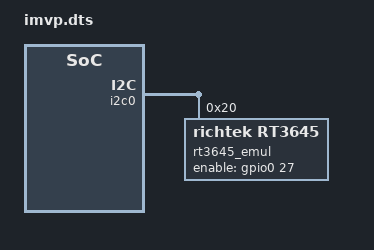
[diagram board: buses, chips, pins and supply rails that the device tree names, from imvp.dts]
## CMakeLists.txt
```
# Copyright 2025 The ChromiumOS Authors
# Use of this source code is governed by a BSD-style license that can be
# found in the LICENSE file.

# Add source files
target_sources(app PRIVATE src/imvp.c)
```

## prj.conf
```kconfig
# Copyright 2026 The ChromiumOS Authors
# Use of this source code is governed by a BSD-style license that can be
# found in the LICENSE file.

CONFIG_IMVP_RT3645_CONSOLE=y
```

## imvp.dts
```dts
/* Copyright 2025 The ChromiumOS Authors
 * Use of this source code is governed by a BSD-style license that can be
 * found in the LICENSE file.
 */

&i2c0 {
	rt3645_emul: richtek-imvp@20 {
		compatible = "richtek,rt3645";
		status = "okay";
		reg = <0x20>;
		enable-gpios = <&gpio0 27 GPIO_ACTIVE_HIGH>;
		update-data = <0x24 0x54 0x02>;
		update-crc = <0x12>;
	};
};
```

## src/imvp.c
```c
/* Copyright 2026 The ChromiumOS Authors
 * Use of this source code is governed by a BSD-style license that can be
 * found in the LICENSE file.
 */

#include "console.h"
#include "drivers/imvp/rt3645.h"
#include "emul/emul_rt3645.h"
#include "power.h"
#include "test/drivers/test_state.h"
#include "timer.h"

#include <stdlib.h>
#include <time.h>

#include <zephyr/fff.h>
#include <zephyr/random/random.h>
#include <zephyr/shell/shell.h>
#include <zephyr/shell/shell_dummy.h>
#include <zephyr/ztest.h>

#define RT3645_PORT 0
#define RT3645_NODE DT_NODELABEL(rt3645_emul)

extern int rt3645_get_flag(int port);

const struct emul *emul = EMUL_DT_GET(RT3645_NODE);
const struct device *dev = DEVICE_DT_GET(RT3645_NODE);

#define RT3645_PAGE_MAX 0x0D

/* Generate random non-zero page number */
#define RT3645_GEN_RAND_PAGE() ((rand() % RT3645_PAGE_MAX) + 1);

/* Generate random non-zero register value */
#define RT3645_GEN_RAND_REG_VAL() ((rand() % 0xFF) + 1);
/**
 * @brief Send correct sequence to RT3645 and set it in config mode
 *
 * @retval 0 if successful, otherwise if it fails
 */
int rt3645_imvp_set_in_config_mode(void)
{
	return shell_execute_cmd(get_ec_shell(),
				 "imvp cfg_mode 0x24 0x25 0x26 0x27");
}

ZTEST(rt3645_imvp, test_product_id)
{
	uint8_t reg_val;

	rt3645_emul_read_reg(emul, PRODUCT_ID_REG, &reg_val);
	zassert_equal(reg_val, 0x45);
}

ZTEST(rt3645_imvp, test_config_mode)
{
	zassert_false(rt3645_emul_in_config_mode(emul));

	/* Setting wrong pattern length */
	zassert_ok(shell_execute_cmd(get_ec_shell(),
				     "imvp cfg_mode 0x24 0x25 0x26"),
		   NULL);
	zassert_ok(rt3645_set_page(dev, 4));
	zassert_false(rt3645_emul_in_config_mode(emul));

	/* Setting wrong pattern */
	zassert_ok(shell_execute_cmd(get_ec_shell(),
				     "imvp cfg_mode 0x24 0x25 0x26 0x30"),
		   NULL);
	zassert_false(rt3645_emul_in_config_mode(emul));

	/* Set register to reset internal device counter */
	zassert_ok(rt3645_set_page(dev, 4));

	/* Setting correct pattern out of G3/S5 */
	power_set_state(POWER_S0);
	zassert_not_ok(rt3645_imvp_set_in_config_mode());

	/* Setting correct pattern */
	power_set_state(POWER_S5);
	zassert_ok(rt3645_imvp_set_in_config_mode());
	zassert_true(rt3645_emul_in_config_mode(emul));
}

/**
 * @brief Write registers into RT3645 page using console command
 *
 * @param  page Number of page to write registers
 * @param  regs Array holding registers value to be written into device, if set
 *              to NULL, only page number is set.
 * @param  count Number of bytes to be written, if set to 0, only page number
 *               is set.
 *
 * @retval 0 if successful, otherwise if it fails
 */
int rt3645_imvp_test_fill_page_regs(uint8_t page, uint8_t *regs, uint8_t count)
{
	int ret;
	char set_page_cmd_in[32] = { 0 };
	char set_regs_cmd_in[128] = { 0 };
	char reg_val_str_in[6] = { 0 };
	const char *set_reg_cmd = "imvp set_regs 0";
	const char *set_page_cmd = "imvp set_page 0x%X";
	const char *set_reg_cat = " 0x%X";

	sprintf(set_page_cmd_in, set_page_cmd, page);
	ret = shell_execute_cmd(get_ec_shell(), set_page_cmd_in);
	if (ret) {
		return ret;
	}

	if (regs == NULL || count == 0) {
		/* Not required to write any registers, just page */
		return 0;
	}

	strcpy(set_regs_cmd_in, set_reg_cmd);
	for (int i = 0; i < count; i++) {
		reg_val_str_in[0] = '\0';
		sprintf(reg_val_str_in, set_reg_cat, regs[i]);
		strcat(set_regs_cmd_in, reg_val_str_in);
	}

	return shell_execute_cmd(get_ec_shell(), set_regs_cmd_in);
}

ZTEST(rt3645_imvp, test_page_setting)
{
	uint8_t page_in;
	uint8_t page_out;

	zassert_ok(rt3645_imvp_set_in_config_mode());
	zassert_true(rt3645_emul_in_config_mode(emul));

	rt3645_emul_read_reg(emul, PAGE_SET_REG, &page_out);
	zassert_equal(page_out, 0);

	/* Generate random page */
	page_in = RT3645_GEN_RAND_PAGE();

	/* Attempt to change page while out of G3/S5 */
	power_set_state(POWER_S0);
	zassert_not_ok(rt3645_imvp_test_fill_page_regs(page_in, NULL, 0));
	zassert_ok(rt3645_emul_read_reg(emul, PAGE_SET_REG, &page_out));
	zassert_not_equal(page_in, page_out);

	power_set_state(POWER_G3);
	zassert_ok(rt3645_imvp_test_fill_page_regs(page_in, NULL, 0));
	zassert_ok(rt3645_emul_read_reg(emul, PAGE_SET_REG, &page_out));
	zassert_equal(page_in, page_out);
}

#define RT3654_IMVP_TEST_SET_REGS_COUNT 5

ZTEST(rt3645_imvp, test_setting_page_regs)
{
	uint8_t page_in;
	uint8_t regs_in[RT3654_IMVP_TEST_SET_REGS_COUNT];

	/* Set random page and generate random registers value */
	page_in = RT3645_GEN_RAND_PAGE();
	for (int i = 0; i < RT3654_IMVP_TEST_SET_REGS_COUNT; i++) {
		regs_in[i] = RT3645_GEN_RAND_REG_VAL();
	}

	zassert_ok(rt3645_imvp_test_fill_page_regs(
		page_in, regs_in, RT3654_IMVP_TEST_SET_REGS_COUNT));

	/* Test setting registers while not in config mode */
	for (int i = 0; i < RT3654_IMVP_TEST_SET_REGS_COUNT; i++) {
		uint8_t reg_out;

		zassert_ok(rt3645_emul_read_reg(emul, i, &reg_out));
		zassert_not_equal(reg_out, regs_in[i]);
	}

	/* Enter config mode */
	zassert_ok(rt3645_imvp_set_in_config_mode());
	zassert_true(rt3645_emul_in_config_mode(emul));
	zassert_ok(rt3645_imvp_test_fill_page_regs(
		page_in, regs_in, RT3654_IMVP_TEST_SET_REGS_COUNT));

	/* Test setting registers while in config mode */
	for (int i = 0; i < RT3654_IMVP_TEST_SET_REGS_COUNT; i++) {
		uint8_t reg_out;

		zassert_ok(rt3645_emul_read_reg(emul, i, &reg_out));
		zassert_equal(reg_out, regs_in[i]);
	}
}

ZTEST(rt3645_imvp, test_dump_regs)
{
	const char *buffer;
	size_t buffer_size;
	uint8_t page_in;
	int page = -1;
	uint8_t regs_in[RT3654_IMVP_TEST_SET_REGS_COUNT];

	/* Allow shell thread to start and get console output */
	k_msleep(10);

	/* Set random page and generate random registers value */
	page_in = RT3645_GEN_RAND_PAGE();
	for (int i = 0; i < RT3654_IMVP_TEST_SET_REGS_COUNT; i++) {
		regs_in[i] = RT3645_GEN_RAND_REG_VAL();
	}

	/* Enter config mode */
	zassert_ok(rt3645_imvp_set_in_config_mode());
	zassert_true(rt3645_emul_in_config_mode(emul));
	zassert_ok(rt3645_imvp_test_fill_page_regs(
		page_in, regs_in, RT3654_IMVP_TEST_SET_REGS_COUNT));

	/* Test out of required power state */
	power_set_state(POWER_S0);
	zassert_not_ok(shell_execute_cmd(get_ec_shell(), "imvp dump_regs"));
	buffer = shell_backend_dummy_get_output(get_ec_shell(), &buffer_size);
	zassert_not_null(strstr(
		buffer, "To access paged registers put system on G3/S5"));

	power_set_state(POWER_G3);
	zassert_ok(shell_execute_cmd(get_ec_shell(), "imvp dump_regs"));
	buffer = shell_backend_dummy_get_output(get_ec_shell(), &buffer_size);
	zassert_is_null(strstr(
		buffer, "To access paged registers put system on G3/S5"));

	/* Test page number */
	buffer = strstr(buffer, "Page: 0x");
	sscanf(buffer, "Page: 0x%X", &page);
	zassert_equal(page_in, page);

	for (int i = 0; i < RT3654_IMVP_TEST_SET_REGS_COUNT; i++) {
		char pattern[32];
		int reg_out;

		zassert_not_equal(sprintf(pattern, "[%02Xh]", i), 0);
		buffer = strstr(buffer, pattern);
		zassert_not_null(buffer);
		sscanf(buffer, "[%*02Xh] = 0x%02X", &reg_out);
		zassert_equal(regs_in[i], reg_out);
	}
}

uint8_t g_page_in;
uint8_t g_regs_in[RT3654_IMVP_TEST_SET_REGS_COUNT];

ZTEST(rt3645_imvp, test_store_load_reg_0)
{
	/* Set random page and generate random registers value */
	g_page_in = RT3645_GEN_RAND_PAGE();
	for (int i = 0; i < RT3654_IMVP_TEST_SET_REGS_COUNT; i++) {
		g_regs_in[i] = RT3645_GEN_RAND_REG_VAL();
	}

	zassert_ok(rt3645_imvp_set_in_config_mode());
	zassert_true(rt3645_emul_in_config_mode(emul));
	zassert_ok(rt3645_imvp_test_fill_page_regs(
		g_page_in, g_regs_in, RT3654_IMVP_TEST_SET_REGS_COUNT));

	power_set_state(POWER_S0);
	zassert_not_ok(shell_execute_cmd(get_ec_shell(), "imvp store_cfg"));
	power_set_state(POWER_S5);
	zassert_ok(shell_execute_cmd(get_ec_shell(), "imvp store_cfg"));
}

ZTEST(rt3645_imvp, test_store_load_reg_1)
{
	uint8_t regs_in[RT3654_IMVP_TEST_SET_REGS_COUNT];

	/* Set random page and generate random registers value */
	for (int i = 0; i < RT3654_IMVP_TEST_SET_REGS_COUNT; i++) {
		regs_in[i] = RT3645_GEN_RAND_REG_VAL();
	}

	zassert_ok(rt3645_imvp_set_in_config_mode());
	zassert_true(rt3645_emul_in_config_mode(emul));

	/* Set new set of registers */
	zassert_ok(rt3645_imvp_test_fill_page_regs(
		g_page_in, regs_in, RT3654_IMVP_TEST_SET_REGS_COUNT));

	/* Load earlier registers setting */
	zassert_ok(shell_execute_cmd(get_ec_shell(), "imvp load_cfg"));

	/* Ensure paged registers value is same as earlier */
	for (int i = 0; i < RT3654_IMVP_TEST_SET_REGS_COUNT; i++) {
		uint8_t reg_out;

		zassert_ok(rt3645_read_reg(dev, i, &reg_out));
		zassert_equal(reg_out, g_regs_in[i]);
	}
}

void rt3645_imvp_test_reset(void *fixture)
{
	srand(time(NULL));
	rt3645_emul_reset_regs(emul);
}

ZTEST_SUITE(rt3645_imvp, drivers_predicate_pre_main, NULL,
	    rt3645_imvp_test_reset, NULL, NULL);
```
